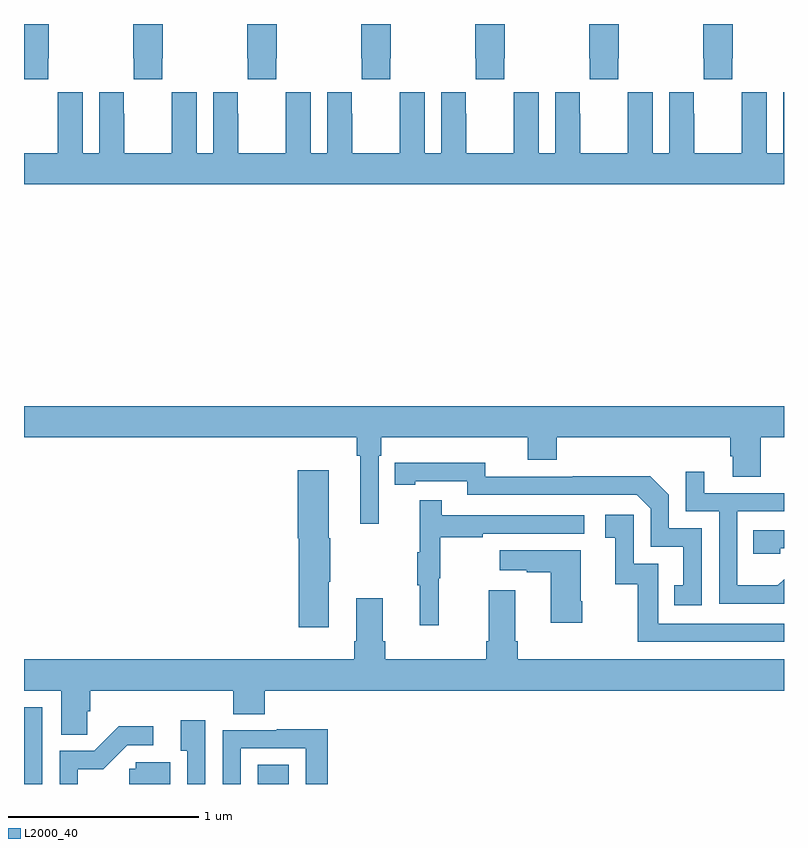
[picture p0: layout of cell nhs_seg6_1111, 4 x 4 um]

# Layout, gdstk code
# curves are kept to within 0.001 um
import gdstk
lib = gdstk.Library(unit=1e-6, precision=1e-09)
def R(c, l, rs):  # rectangles x0, y0, x1, y1
    for r in rs: c.add(gdstk.rectangle(r[:2], r[2:], *l))
def P(c, l, *ps):  # polygons
    for p in ps: c.add(gdstk.Polygon(p, *l))
L2000_40 = (2000, 40)

nhs_seg6_1111 = lib.new_cell('nhs_seg6_1111')
R(nhs_seg6_1111, L2000_40, [(179,957.5,179.097,957.903), (180.23,957.5,180.394,957.602)])
P(nhs_seg6_1111, L2000_40, [(182.727,961.321),(182.73,961.321),(182.73,961.5),(182.575,961.5),(182.575,961.321),(182.577,961.321),(182.577,961.209),(182.727,961.209)],
  [(182.127,961.321),(182.13,961.321),(182.13,961.5),(181.975,961.5),(181.975,961.321),(181.977,961.321),(181.977,961.209),(182.127,961.209)],
  [(181.527,961.321),(181.53,961.321),(181.53,961.5),(181.375,961.5),(181.375,961.321),(181.377,961.321),(181.377,961.209),(181.527,961.209)],
  [(180.927,961.321),(180.93,961.321),(180.93,961.5),(180.775,961.5),(180.775,961.321),(180.777,961.321),(180.777,961.209),(180.927,961.209)],
  [(180.327,961.321),(180.33,961.321),(180.33,961.5),(180.175,961.5),(180.175,961.321),(180.177,961.321),(180.177,961.209),(180.327,961.209)],
  [(179.727,961.321),(179.73,961.321),(179.73,961.5),(179.575,961.5),(179.575,961.321),(179.577,961.321),(179.577,961.209),(179.727,961.209)],
  [(179.127,961.321),(179.13,961.321),(179.13,961.5),(179,961.5),(179,961.209),(179.127,961.209)],
  [(183,961.141),(182.996,961.141),(182.996,960.82),(182.908,960.82),(182.908,961.141),(182.778,961.141),(182.778,961.028),(182.777,961.028),(182.777,960.82),(182.527,960.82),(182.527,961.028),(182.526,961.028),(182.526,961.141),(182.396,961.141),(182.396,960.82),(182.308,960.82),(182.308,961.141),(182.178,961.141),(182.178,961.028),(182.177,961.028),(182.177,960.82),(181.927,960.82),(181.927,961.028),(181.926,961.028),(181.926,961.141),(181.796,961.141),(181.796,960.82),(181.708,960.82),(181.708,961.141),(181.578,961.141),(181.578,961.028),(181.577,961.028),(181.577,960.82),(181.327,960.82),(181.327,961.028),(181.326,961.028),(181.326,961.141),(181.196,961.141),(181.196,960.82),(181.108,960.82),(181.108,961.141),(180.978,961.141),(180.978,961.028),(180.977,961.028),(180.977,960.82),(180.727,960.82),(180.727,961.028),(180.726,961.028),(180.726,961.141),(180.596,961.141),(180.596,960.82),(180.508,960.82),(180.508,961.141),(180.378,961.141),(180.378,961.028),(180.377,961.028),(180.377,960.82),(180.127,960.82),(180.127,961.028),(180.126,961.028),(180.126,961.141),(179.996,961.141),(179.996,960.82),(179.908,960.82),(179.908,961.141),(179.778,961.141),(179.778,961.028),(179.777,961.028),(179.777,960.82),(179.527,960.82),(179.527,961.028),(179.526,961.028),(179.526,961.141),(179.396,961.141),(179.396,960.82),(179.308,960.82),(179.308,961.141),(179.178,961.141),(179.178,961.028),(179.177,961.028),(179.177,960.82),(179,960.82),(179,960.656),(183,960.656)],
  [(180.867,959.228),(180.881,959.228),(180.881,959.324),(181.652,959.324),(181.652,959.207),(181.805,959.207),(181.805,959.324),(182.717,959.324),(182.717,959.226),(182.729,959.226),(182.729,959.116),(182.877,959.116),(182.877,959.324),(183,959.324),(183,959.488),(179,959.488),(179,959.324),(180.751,959.324),(180.751,959.228),(180.77,959.228),(180.77,958.869),(180.867,958.869)],
  [(182.568,958.845),(182.394,958.845),(182.394,959.022),(182.296,959.12),(181.888,959.12),(181.888,959.118),(181.428,959.118),(181.428,959.191),(180.952,959.19),(180.952,959.074),(181.06,959.074),(181.06,959.094),(181.332,959.094),(181.332,959.022),(182.226,959.022),(182.298,958.95),(182.298,958.749),(182.471,958.749),(182.471,958.545),(182.422,958.545),(182.422,958.44),(182.568,958.44)],
  [(180.604,958.564),(180.612,958.564),(180.612,958.794),(180.604,958.794),(180.604,959.152),(180.44,959.152),(180.44,958.794),(180.446,958.794),(180.446,958.326),(180.604,958.326)],
  [(183,958.578),(182.968,958.546),(182.754,958.546),(182.754,958.935),(183,958.935),(183,959.031),(182.581,959.031),(182.581,959.143),(182.484,959.143),(182.484,958.935),(182.658,958.935),(182.658,958.449),(183,958.449)],
  [(181.184,958.584),(181.192,958.584),(181.192,958.798),(181.415,958.798),(181.415,958.818),(181.948,958.818),(181.948,958.914),(181.199,958.914),(181.199,958.993),(181.082,958.993),(181.082,958.721),(181.071,958.721),(181.071,958.547),(181.082,958.547),(181.082,958.335),(181.184,958.335)],
  [(183,958.344),(182.337,958.344),(182.337,958.659),(182.208,958.659),(182.208,958.918),(182.058,958.918),(182.058,958.797),(182.111,958.797),(182.111,958.551),(182.229,958.551),(182.229,958.248),(183,958.248)],
  [(182.979,958.74),(183,958.74),(183,958.836),(182.839,958.836),(182.839,958.713),(182.979,958.713)],
  [(181.938,958.462),(181.93,958.462),(181.93,958.729),(181.503,958.729),(181.503,958.625),(181.646,958.625),(181.646,958.615),(181.772,958.615),(181.772,958.35),(181.938,958.35)],
  [(179.333,957.882),(179.348,957.882),(179.348,957.992),(180.101,957.992),(180.101,957.868),(180.266,957.868),(180.266,957.992),(183,957.992),(183,958.156),(181.598,958.156),(181.598,958.252),(181.585,958.252),(181.585,958.519),(181.445,958.519),(181.445,958.252),(181.433,958.252),(181.433,958.156),(180.902,958.156),(180.902,958.252),(180.889,958.252),(180.889,958.477),(180.749,958.477),(180.749,958.252),(180.737,958.252),(180.737,958.156),(179,958.156),(179,957.992),(179.195,957.992),(179.195,957.76),(179.333,957.76)],
  [(179.955,957.835),(179.825,957.835),(179.825,957.674),(179.859,957.674),(179.859,957.5),(179.955,957.5)],
  [(179.284,957.578),(179.417,957.578),(179.544,957.705),(179.68,957.705),(179.68,957.803),(179.498,957.803),(179.37,957.675),(179.187,957.675),(179.187,957.5),(179.284,957.5)],
  [(180.141,957.687),(180.483,957.687),(180.483,957.5),(180.599,957.5),(180.599,957.787),(180.329,957.787),(180.329,957.783),(180.045,957.783),(180.045,957.5),(180.141,957.5)],
  [(179.77,957.615),(179.589,957.615),(179.589,957.579),(179.553,957.579),(179.553,957.5),(179.77,957.5)])

lib.write_gds('nhs_seg6_1111.gds')
